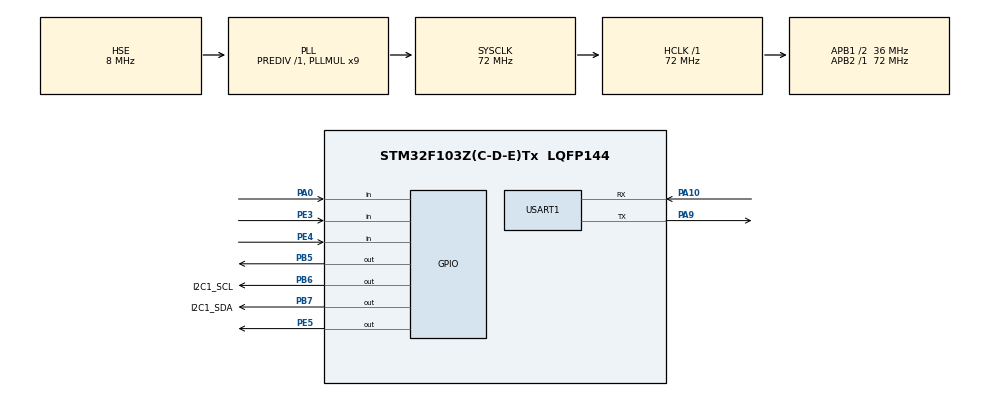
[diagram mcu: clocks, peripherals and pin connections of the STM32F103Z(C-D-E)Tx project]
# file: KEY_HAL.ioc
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Mcu.Family=STM32F1
Mcu.Name=STM32F103Z(C-D-E)Tx
Mcu.Package=LQFP144
NVIC.PriorityGroup=NVIC_PRIORITYGROUP_4
OSC_IN.Mode=HSE-External-Oscillator
OSC_IN.Signal=RCC_OSC_IN
OSC_OUT.Mode=HSE-External-Oscillator
OSC_OUT.Signal=RCC_OSC_OUT
PA0-WKUP.GPIO_PuPd=GPIO_PULLDOWN
PA0-WKUP.Signal=GPIO_Input
PA10.Mode=Asynchronous
PA10.Signal=USART1_RX
PA13.Mode=Serial_Wire
PA13.Signal=SYS_JTMS-SWDIO
PA14.Mode=Serial_Wire
PA14.Signal=SYS_JTCK-SWCLK
PA9.Mode=Asynchronous
PA9.Signal=USART1_TX
PB5.Signal=GPIO_Output
PB6.GPIO_Label=I2C1_SCL
PB6.GPIO_ModeDefaultOutputPP=GPIO_MODE_OUTPUT_OD
PB6.GPIO_PuPd=GPIO_PULLUP
PB6.GPIO_Speed=GPIO_SPEED_FREQ_HIGH
PB6.PinState=GPIO_PIN_SET
PB6.Signal=GPIO_Output
PB7.GPIO_Label=I2C1_SDA
PB7.GPIO_ModeDefaultOutputPP=GPIO_MODE_OUTPUT_OD
PB7.GPIO_PuPd=GPIO_PULLUP
PB7.GPIO_Speed=GPIO_SPEED_FREQ_HIGH
PB7.PinState=GPIO_PIN_SET
PB7.Signal=GPIO_Output
PE3.GPIO_PuPd=GPIO_PULLUP
PE3.Signal=GPIO_Input
PE4.GPIO_PuPd=GPIO_PULLUP
PE4.Signal=GPIO_Input
PE5.Signal=GPIO_Output
ProjectManager.HeapSize=0x200
ProjectManager.StackSize=0x400
ProjectManager.TargetToolchain=MDK-ARM V5.32
RCC.AHBFreq_Value=72000000
RCC.APB1CLKDivider=RCC_HCLK_DIV2
RCC.APB1Freq_Value=36000000
RCC.APB1TimFreq_Value=72000000
RCC.APB2Freq_Value=72000000
RCC.APB2TimFreq_Value=72000000
RCC.HCLKFreq_Value=72000000
RCC.PLLMUL=RCC_PLL_MUL9
RCC.PLLSourceVirtual=RCC_PLLSOURCE_HSE
RCC.SYSCLKFreq_VALUE=72000000
RCC.SYSCLKSource=RCC_SYSCLKSOURCE_PLLCLK
RCC.USBFreq_Value=72000000
USART1.VirtualMode=VM_ASYNC
board=custom

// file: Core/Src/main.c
/* USER CODE BEGIN Header */
/**
  ******************************************************************************
  * @file           : main.c
  * @brief          : Main program body
  ******************************************************************************
  * @attention
  *
  * Copyright (c) 2024 STMicroelectronics.
  * All rights reserved.
  *
  * This software is licensed under terms that can be found in the LICENSE file
  * in the root directory of this software component.
  * If no LICENSE file comes with this software, it is provided AS-IS.
  *
  ******************************************************************************
  */
/* USER CODE END Header */
#include "main.h"
#include "usart.h"
#include "gpio.h"

/* USER CODE BEGIN Includes */
#include "key.h"
#include "led.h"
#include "at24c02.h"
#include <stdio.h>
/* USER CODE END Includes */

void SystemClock_Config(void);

int main(void)
{

  /* MCU Configuration--------------------------------------------------------*/

  /* Reset of all peripherals, Initializes the Flash interface and the Systick. */
  HAL_Init();

  /* Configure the system clock */
  SystemClock_Config();

  /* Initialize all configured peripherals */
  MX_GPIO_Init();
  MX_USART1_UART_Init();
  /* USER CODE BEGIN 2 */
	AT24C02_Init();	// AT24C02初始化
  /* USER CODE END 2 */

  /* Infinite loop */
  /* USER CODE BEGIN WHILE */
  while(AT24C02_Check())
  {
	printf("AT24C02 Check Failed\n");
	  HAL_Delay(500);
  }
  printf("AT24C02 Ready\n");
  uint8_t keyNum;
  uint8_t write_buffer[] = {"ABCD 1234 5678 90"};
  uint8_t buffer_size = sizeof(write_buffer);
  uint8_t read_buffer[buffer_size];

  while (1)
  {
	 keyNum = Key_GetNum();
	  if(keyNum == KEY0)	// 写入
	  {
		AT24C02_Write(0, write_buffer, buffer_size);
//		  AT24C02_WriteOneByte(0, 0x11);
		 printf("finish write\n");
	  }
	  else if(keyNum == KEY1) // 读取
	  {
//		  uint8_t data = AT24C02_ReadOneByte(255);
//		  printf("%x", data);
		  AT24C02_Read(0, read_buffer, buffer_size);
		  printf("%s", read_buffer);
	  }
    /* USER CODE END WHILE */

  }
}

void SystemClock_Config(void)
{
  RCC_OscInitTypeDef RCC_OscInitStruct = {0};
  RCC_ClkInitTypeDef RCC_ClkInitStruct = {0};

  /** Initializes the RCC Oscillators according to the specified parameters
  * in the RCC_OscInitTypeDef structure.
  */
  RCC_OscInitStruct.OscillatorType = RCC_OSCILLATORTYPE_HSE;
  RCC_OscInitStruct.HSEState = RCC_HSE_ON;
  RCC_OscInitStruct.HSEPredivValue = RCC_HSE_PREDIV_DIV1;
  RCC_OscInitStruct.HSIState = RCC_HSI_ON;
  RCC_OscInitStruct.PLL.PLLState = RCC_PLL_ON;
  RCC_OscInitStruct.PLL.PLLSource = RCC_PLLSOURCE_HSE;
  RCC_OscInitStruct.PLL.PLLMUL = RCC_PLL_MUL9;
  if (HAL_RCC_OscConfig(&RCC_OscInitStruct) != HAL_OK)
  {
    Error_Handler();
  }

  /** Initializes the CPU, AHB and APB buses clocks
  */
  RCC_ClkInitStruct.ClockType = RCC_CLOCKTYPE_HCLK|RCC_CLOCKTYPE_SYSCLK
                              |RCC_CLOCKTYPE_PCLK1|RCC_CLOCKTYPE_PCLK2;
  RCC_ClkInitStruct.SYSCLKSource = RCC_SYSCLKSOURCE_PLLCLK;
  RCC_ClkInitStruct.AHBCLKDivider = RCC_SYSCLK_DIV1;
  RCC_ClkInitStruct.APB1CLKDivider = RCC_HCLK_DIV2;
  RCC_ClkInitStruct.APB2CLKDivider = RCC_HCLK_DIV1;

  if (HAL_RCC_ClockConfig(&RCC_ClkInitStruct, FLASH_LATENCY_2) != HAL_OK)
  {
    Error_Handler();
  }
}

void Error_Handler(void)
{
  __disable_irq();
  while (1)
  {
  }
}
